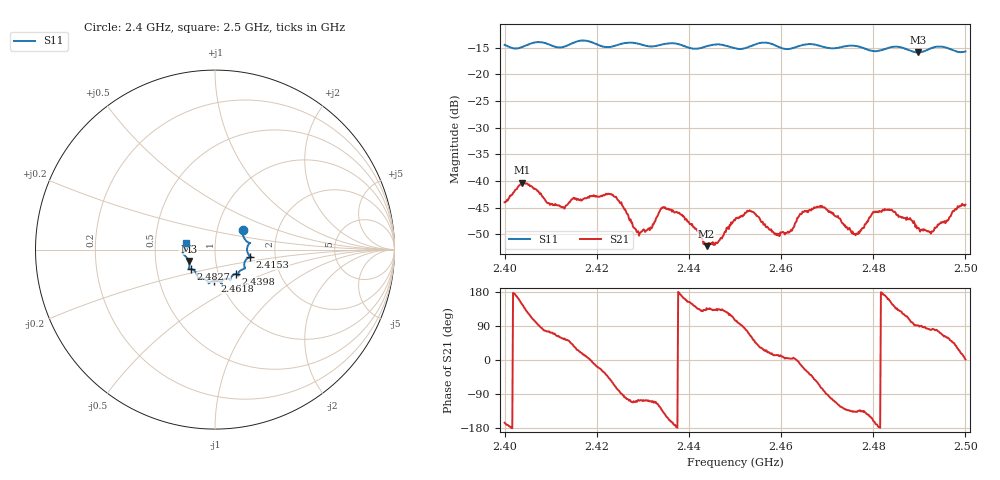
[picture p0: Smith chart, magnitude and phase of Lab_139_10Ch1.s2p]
# Hz S RI R 50
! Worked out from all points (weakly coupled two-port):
!   601 points, 2.4 GHz to 2.5 GHz, reference 50 ohm
!   highest |S21| = -40.35 dB at 2.4038 GHz (marker M1); lowest = -52.2 dB at 2.4438 GHz (marker M2)
!   lowest |S11| = -15.9 dB at 2.4897 GHz (marker M3), VSWR 1.38, Z = 36.9 - j4.82 ohm
!   |S11| at or under -10 dB: start of sweep to end of sweep
!   S12 and S22 are empty: the file has one direction only
!   S11 on the Smith chart (normalised r, x): 2.4 GHz: 1.33, +0.30; 2.4153 GHz: 1.48, -0.12; 2.4398 GHz: 1.21, -0.34; 2.4618 GHz: 0.94, -0.33; 2.4827 GHz: 0.75, -0.17; 2.5 GHz: 0.72, +0.06
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2.4e9  0.1551 0.1074  -0.00611 -0.00157  0 0  0 0
2.403833e9  0.1733 0.0493  -0.00796 0.00538  0 0  0 0
2.410333e9  0.1836 0.0229  0.00184 0.00581  0 0  0 0
2.415333e9  0.1964 -0.0392  0.00578 0.00373  0 0  0 0
2.416667e9  0.2024 -0.043  0.00618 0.00211  0 0  0 0
2.423667e9  0.1628 -0.0845  0.00309 -0.00649  0 0  0 0
2.429167e9  0.1603 -0.1069  -0.000921 -0.00293  0 0  0 0
2.433333e9  0.1296 -0.1338  -0.00226 -0.00428  0 0  0 0
2.439833e9  0.1155 -0.1356  -0.00372 0.00185  0 0  0 0
2.443833e9  0.0858 -0.1616  -0.00178 0.00168  0 0  0 0
2.45e9  0.0655 -0.1622  -0.00108 0.00413  0 0  0 0
2.4535e9  0.0366 -0.1805  0.00242 0.00463  0 0  0 0
2.458833e9  0.0323 -0.1827  0.00314 0.00071  0 0  0 0
2.461833e9  -0.00329 -0.1727  0.00332 0.000237  0 0  0 0
2.466667e9  -0.0348 -0.1882  0.0041 -0.00366  0 0  0 0
2.469333e9  -0.0423 -0.1748  0.000803 -0.00562  0 0  0 0
2.476167e9  -0.0957 -0.1573  -0.00227 -0.00211  0 0  0 0
2.482667e9  -0.135 -0.1084  -0.00526 0.00103  0 0  0 0
2.483333e9  -0.1401 -0.1081  -0.00505 0.00174  0 0  0 0
2.489667e9  -0.1467 -0.0636  -9.94e-05 0.00362  0 0  0 0
2.492667e9  -0.1734 -0.0289  0.000577 0.00331  0 0  0 0
2.5e9  -0.1591 0.0386  0.00598 0.000162  0 0  0 0
